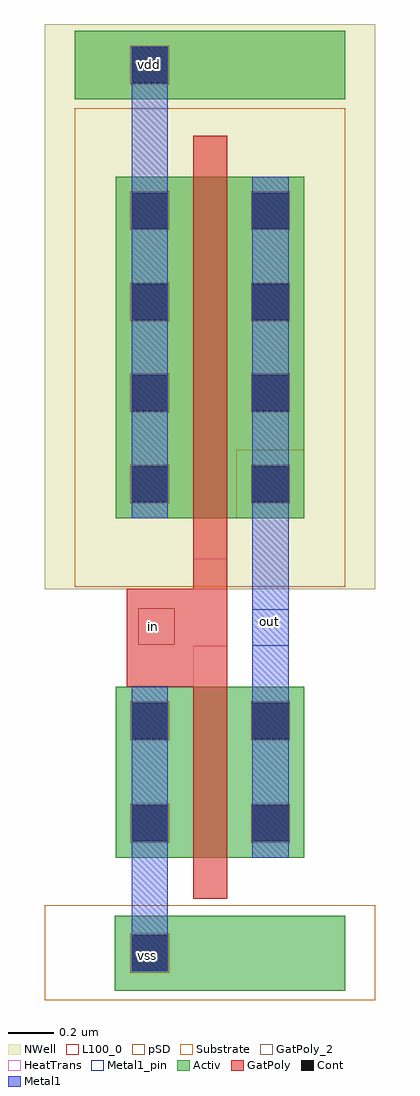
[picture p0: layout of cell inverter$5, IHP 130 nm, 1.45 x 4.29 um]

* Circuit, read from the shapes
.subckt inverter$5 in out vdd vss
XM1 out in vss vss sg13_lv_nmos w=0.75u l=0.15u
XM2 out in vdd vdd sg13_lv_pmos w=1.5u l=0.15u
.ends

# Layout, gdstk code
import gdstk
lib = gdstk.Library(unit=1e-6, precision=1.5e-09)
def R(c, l, rs):  # rectangles x0, y0, x1, y1
    for r in rs: c.add(gdstk.rectangle(r[:2], r[2:], *l))
Activ = (1, 0)
GatPoly = (5, 0)
GatPoly_2 = (5, 2)
Cont = (6, 0)
Metal1 = (8, 0)
Metal1_pin = (8, 2)
pSD = (14, 0)
NWell = (31, 0)
Substrate = (40, 0)
HeatTrans = (51, 0)
L100_0 = (100, 0)

nmos_7 = lib.new_cell('nmos$7')
R(nmos_7, Activ, [(0,0,0.3,0.3), (0,0,0.8295,0.75), (0.5295,0,0.8295,0.3)])
R(nmos_7, GatPoly, [(0.3405,-0.18,0.4905,0.93)])
R(nmos_7, GatPoly_2, [(0.3405,-0.18,0.4905,0.93)])
R(nmos_7, Cont, [(0.0705,0.0705,0.2295,0.2295), (0.6,0.0705,0.7605,0.2295), (0.0705,0.5205,0.2295,0.6795), (0.6,0.5205,0.7605,0.6795)])
R(nmos_7, Metal1, [(0.0705,0,0.2295,0.75), (0.6,0,0.7605,0.75)])
R(nmos_7, Metal1_pin, [(0.0705,0,0.2295,0.75), (0.6,0,0.7605,0.75)])
R(nmos_7, HeatTrans, [(0.3405,-0.18,0.4905,0.93)])
nmos_7.add(gdstk.Label('nmos', (0.4155,0.375), layer=63, texttype=0))
nmos_7.add(gdstk.Label('nmos', (0.4155,0.375), layer=51, texttype=0))

pmos_8 = lib.new_cell('pmos$8')
R(pmos_8, Activ, [(0,0,0.3,0.3), (0,0,0.8295,1.5), (0.5295,0,0.8295,0.3)])
R(pmos_8, GatPoly, [(0.3405,-0.18,0.4905,1.68), (0.3405,-0.18,0.4905,1.68)])
R(pmos_8, Cont, [(0.0705,0.0705,0.2295,0.2295), (0.6,0.0705,0.7605,0.2295), (0.0705,0.4695,0.2295,0.63), (0.6,0.4695,0.7605,0.63), (0.0705,0.87,0.2295,1.0305), (0.6,0.87,0.7605,1.0305), (0.0705,1.2705,0.2295,1.4295), (0.6,1.2705,0.7605,1.4295)])
R(pmos_8, Metal1, [(0.0705,0,0.2295,1.5), (0.0705,0,0.2295,1.5), (0.6,0,0.7605,1.5), (0.6,0,0.7605,1.5)])
R(pmos_8, pSD, [(-0.18,-0.3,1.0095,1.8)])
R(pmos_8, NWell, [(-0.3105,-0.3105,1.14,1.8105)])
R(pmos_8, Substrate, [(0.5295,0,0.8295,0.3)])
R(pmos_8, HeatTrans, [(0.3405,-0.18,0.4905,1.68)])
pmos_8.add(gdstk.Label('pmos', (0.4155,0.75), layer=63, texttype=0))
pmos_8.add(gdstk.Label('pmos', (0.4155,0.75), layer=51, texttype=0))

inverter_5 = lib.new_cell('inverter$5')
R(inverter_5, Activ, [(-0.6195,-1.71,0.3945,-1.38), (-0.795,2.205,0.3945,2.505)])
R(inverter_5, GatPoly, [(-0.5655,-0.375,-0.2745,0.0555), (-0.2745,-0.195,-0.1245,0.1845)])
R(inverter_5, GatPoly_2, [(-0.5145,-0.1905,-0.3555,-0.03)])
R(inverter_5, Cont, [(-0.5445,-1.6245,-0.3855,-1.4655), (-0.5445,-1.6245,-0.3855,-1.4655), (-0.5445,2.2755,-0.3855,2.4345)])
R(inverter_5, Metal1, [(-0.5445,-1.6245,-0.3855,-0.8445), (-0.015,-0.375,0.1455,0.3645), (-0.5445,1.8645,-0.3855,2.4345)])
R(inverter_5, Metal1_pin, [(-0.015,-0.57,0.1455,-0.435), (-0.015,-0.195,0.1455,-0.0345), (-0.5445,2.2755,-0.3855,2.4345)])
R(inverter_5, pSD, [(-0.9255,-1.7505,0.525,-1.335)])
R(inverter_5, NWell, [(-0.9255,2.175,0.525,2.535)])
R(inverter_5, L100_0, [(-0.5505,-1.6305,-0.3795,-1.4595), (-0.5445,-1.6305,-0.3795,-1.4595), (-0.5505,-1.0605,-0.3795,-0.8895), (-0.5505,-1.0605,-0.3795,-0.8895), (-0.0195,-1.0605,0.15,-0.8895), (-0.0195,-1.0605,0.15,-0.8895), (-0.5505,-0.6105,-0.3795,-0.4395), (-0.5505,-0.6105,-0.3795,-0.4395), (-0.0195,-0.6105,0.15,-0.4395), (-0.0195,-0.6105,0.15,-0.4395), (-0.5505,0.4305,-0.3795,0.6), (-0.5505,0.4305,-0.3795,0.6), (-0.0195,0.4305,0.15,0.6), (-0.0195,0.4305,0.15,0.6), (-0.5505,0.8295,-0.3795,1.0005), (-0.5505,0.8295,-0.3795,1.0005), (-0.0195,0.8295,0.15,1.0005), (-0.0195,0.8295,0.15,1.0005), (-0.5505,1.23,-0.3795,1.3995), (-0.5505,1.23,-0.3795,1.3995), (-0.0195,1.23,0.15,1.3995), (-0.0195,1.23,0.15,1.3995), (-0.5505,1.6305,-0.3795,1.8), (-0.5505,1.6305,-0.3795,1.8), (-0.0195,1.6305,0.15,1.8), (-0.0195,1.6305,0.15,1.8), (-0.5505,2.2695,-0.3795,2.4405), (-0.5505,2.2695,-0.3795,2.4405)])
inverter_5.add(gdstk.Reference(nmos_7, (-0.615,-1.125)))
inverter_5.add(gdstk.Reference(pmos_8, (-0.615,0.3645)))
inverter_5.add(gdstk.Label('vdd', (-0.465,2.355), layer=8, texttype=2))
inverter_5.add(gdstk.Label('vss', (-0.4755,-1.5555), layer=8, texttype=2))
inverter_5.add(gdstk.Label('out', (0.06,-0.09), layer=8, texttype=2))
inverter_5.add(gdstk.Label('in', (-0.45,-0.1095), layer=5, texttype=2))

lib.write_gds('inverter_5.gds')
